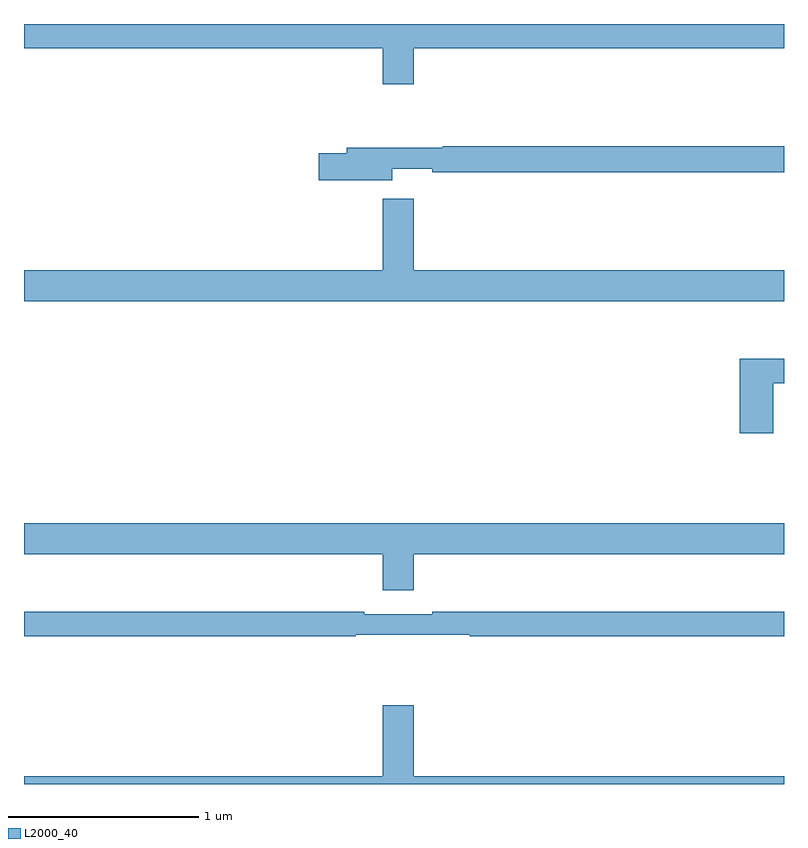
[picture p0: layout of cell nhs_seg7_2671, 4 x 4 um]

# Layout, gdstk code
import gdstk
lib = gdstk.Library(unit=1e-6, precision=1e-09)
def P(c, l, *ps):  # polygons
    for p in ps: c.add(gdstk.Polygon(p, *l))
L2000_40 = (2000, 40)

nhs_seg7_2671 = lib.new_cell('nhs_seg7_2671')
P(nhs_seg7_2671, L2000_40, [(285.052,1077.872),(287,1077.872),(287,1078),(283,1078),(283,1077.872),(284.888,1077.872),(284.888,1077.684),(285.052,1077.684)],
  [(284.938,1077.239),(285.148,1077.239),(285.148,1077.22),(287,1077.22),(287,1077.356),(285.203,1077.356),(285.203,1077.349),(284.699,1077.349),(284.699,1077.32),(284.55,1077.32),(284.55,1077.178),(284.938,1077.178)],
  [(287,1076.704),(285.052,1076.704),(285.052,1077.079),(284.888,1077.079),(284.888,1076.704),(283,1076.704),(283,1076.54),(287,1076.54)],
  [(286.944,1076.11),(287,1076.11),(287,1076.239),(286.766,1076.239),(286.766,1075.845),(286.944,1075.845)],
  [(285.052,1075.208),(287,1075.208),(287,1075.372),(283,1075.372),(283,1075.208),(284.888,1075.208),(284.888,1075.02),(285.052,1075.02)],
  [(284.746,1074.786),(285.346,1074.786),(285.346,1074.778),(287,1074.778),(287,1074.907),(285.148,1074.907),(285.148,1074.894),(284.792,1074.894),(284.792,1074.907),(283,1074.907),(283,1074.778),(284.746,1074.778)],
  [(287,1074.04),(285.052,1074.04),(285.052,1074.415),(284.888,1074.415),(284.888,1074.04),(283,1074.04),(283,1074),(287,1074)])

lib.write_gds('nhs_seg7_2671.gds')
